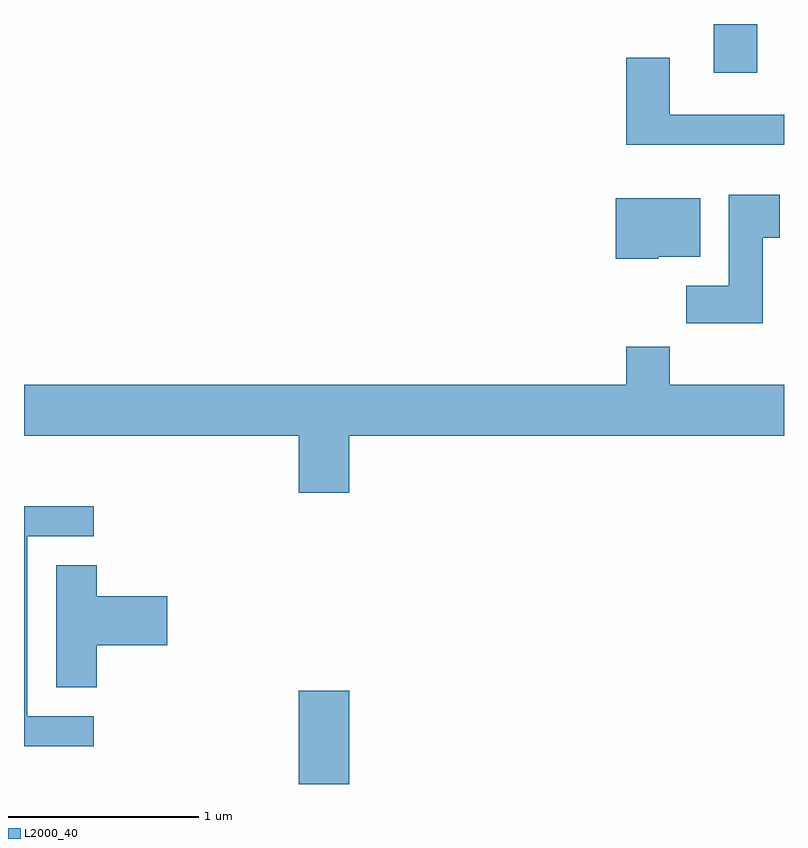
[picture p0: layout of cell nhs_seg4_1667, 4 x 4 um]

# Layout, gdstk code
import gdstk
lib = gdstk.Library(unit=1e-6, precision=1e-09)
def R(c, l, rs):  # rectangles x0, y0, x1, y1
    for r in rs: c.add(gdstk.rectangle(r[:2], r[2:], *l))
def P(c, l, *ps):  # polygons
    for p in ps: c.add(gdstk.Polygon(p, *l))
L2000_40 = (2000, 40)

nhs_seg4_1667 = lib.new_cell('nhs_seg4_1667')
R(nhs_seg4_1667, L2000_40, [(235.056,1323.982,235.324,1324.474), (237.241,1327.726,237.469,1327.982)])
P(nhs_seg4_1667, L2000_40, [(237.611,1327.504),(237.009,1327.504),(237.009,1327.804),(236.781,1327.804),(236.781,1327.346),(237.611,1327.346)],
  [(237.499,1326.856),(237.589,1326.856),(237.589,1327.084),(237.321,1327.084),(237.321,1326.604),(237.096,1326.604),(237.096,1326.406),(237.499,1326.406)],
  [(236.95,1326.756),(237.169,1326.756),(237.169,1327.064),(236.726,1327.064),(236.726,1326.746),(236.95,1326.746)],
  [(235.324,1325.816),(237.611,1325.816),(237.611,1326.084),(237.009,1326.084),(237.009,1326.284),(236.781,1326.284),(236.781,1326.084),(233.611,1326.084),(233.611,1325.816),(235.056,1325.816),(235.056,1325.516),(235.324,1325.516)],
  [(233.978,1324.339),(233.629,1324.339),(233.629,1325.286),(233.978,1325.286),(233.978,1325.444),(233.611,1325.444),(233.611,1324.181),(233.978,1324.181)],
  [(233.994,1324.711),(234.364,1324.711),(234.364,1324.969),(233.994,1324.969),(233.994,1325.134),(233.781,1325.134),(233.781,1324.491),(233.994,1324.491)])

lib.write_gds('nhs_seg4_1667.gds')
